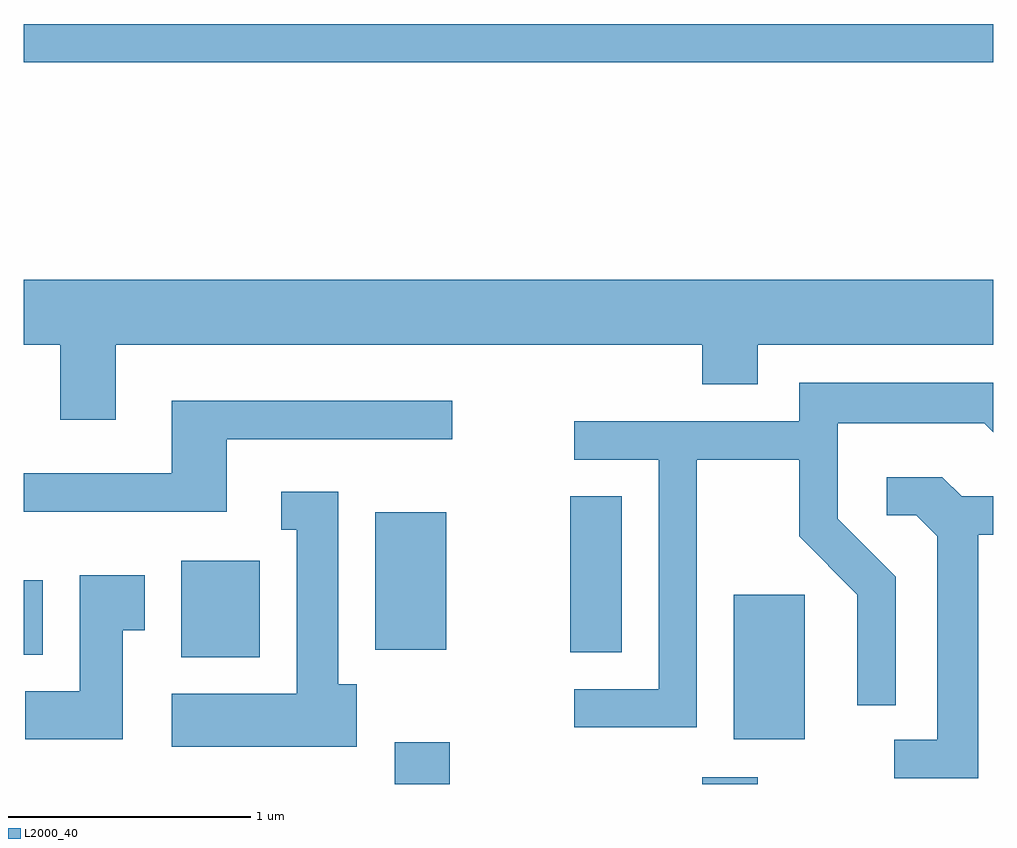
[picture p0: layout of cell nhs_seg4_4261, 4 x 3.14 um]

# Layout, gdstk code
import gdstk
lib = gdstk.Library(unit=1e-6, precision=1e-09)
def R(c, l, rs):  # rectangles x0, y0, x1, y1
    for r in rs: c.add(gdstk.rectangle(r[:2], r[2:], *l))
def P(c, l, *ps):  # polygons
    for p in ps: c.add(gdstk.Polygon(p, *l))
L2000_40 = (2000, 40)

nhs_seg4_4261 = lib.new_cell('nhs_seg4_4261')
R(nhs_seg4_4261, L2000_40, [(311.141,1343.982,311.369,1344.154), (312.411,1343.982,312.639,1344.009), (312.541,1344.166,312.834,1344.764), (310.261,1344.506,310.584,1344.904), (309.611,1344.516,309.689,1344.824), (311.866,1344.526,312.079,1345.169), (311.061,1344.536,311.354,1345.104), (309.611,1346.961,313.611,1347.119)])
P(nhs_seg4_4261, L2000_40, [(309.989,1345.796),(312.411,1345.796),(312.411,1345.631),(312.639,1345.631),(312.639,1345.796),(313.611,1345.796),(313.611,1346.064),(309.611,1346.064),(309.611,1345.796),(309.761,1345.796),(309.761,1345.486),(309.989,1345.486)],
  [(312.389,1345.321),(312.811,1345.321),(312.811,1345.004),(313.051,1344.764),(313.051,1344.308),(313.209,1344.308),(313.209,1344.837),(312.969,1345.077),(312.969,1345.471),(313.574,1345.471),(313.611,1345.434),(313.611,1345.639),(312.811,1345.639),(312.811,1345.479),(311.883,1345.479),(311.883,1345.321),(312.231,1345.321),(312.231,1344.374),(311.883,1344.374),(311.883,1344.216),(312.389,1344.216)],
  [(310.449,1345.406),(311.378,1345.406),(311.378,1345.564),(310.221,1345.564),(310.221,1345.264),(309.611,1345.264),(309.611,1345.106),(310.449,1345.106)],
  [(313.549,1345.011),(313.611,1345.011),(313.611,1345.169),(313.482,1345.169),(313.402,1345.249),(313.173,1345.249),(313.173,1345.091),(313.294,1345.091),(313.381,1345.004),(313.381,1344.164),(313.203,1344.164),(313.203,1344.006),(313.549,1344.006)],
  [(310.984,1344.394),(310.909,1344.394),(310.909,1345.189),(310.673,1345.189),(310.673,1345.031),(310.736,1345.031),(310.736,1344.354),(310.221,1344.354),(310.221,1344.136),(310.984,1344.136)],
  [(310.019,1344.616),(310.109,1344.616),(310.109,1344.844),(309.841,1344.844),(309.841,1344.364),(309.616,1344.364),(309.616,1344.166),(310.019,1344.166)])

lib.write_gds('nhs_seg4_4261.gds')
